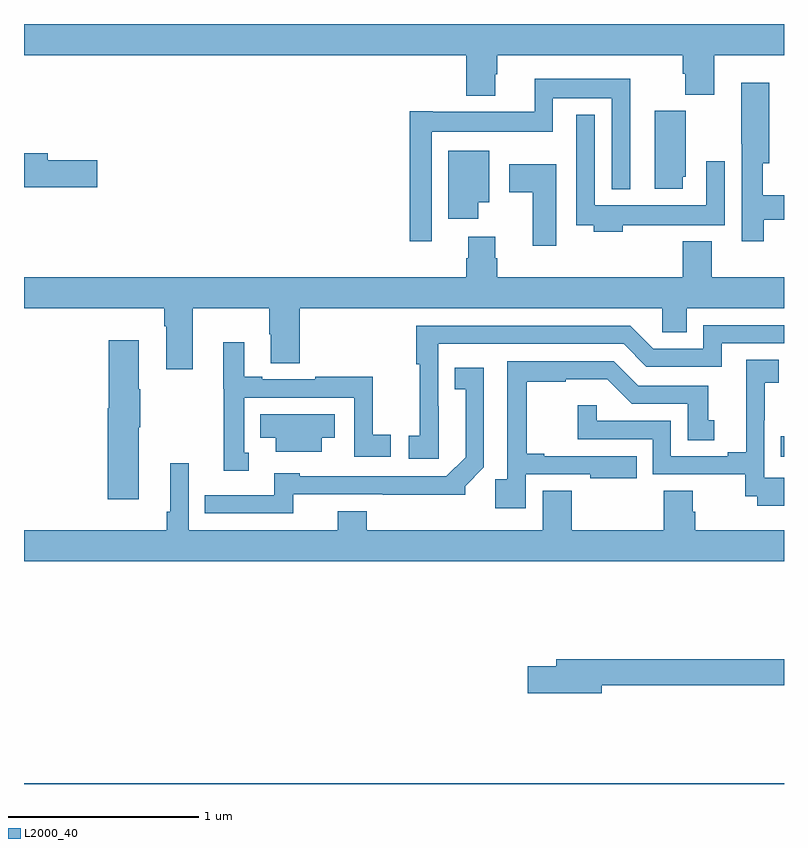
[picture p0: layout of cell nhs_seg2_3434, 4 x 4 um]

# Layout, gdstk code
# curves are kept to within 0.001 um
import gdstk
lib = gdstk.Library(unit=1e-6, precision=1e-09)
def R(c, l, rs):  # rectangles x0, y0, x1, y1
    for r in rs: c.add(gdstk.rectangle(r[:2], r[2:], *l))
def P(c, l, *ps):  # polygons
    for p in ps: c.add(gdstk.Polygon(p, *l))
L2000_40 = (2000, 40)

nhs_seg2_3434 = lib.new_cell('nhs_seg2_3434')
R(nhs_seg2_3434, L2000_40, [(291,643.8,295,643.804), (294.982,645.522,295,645.631)])
P(nhs_seg2_3434, L2000_40, [(293.479,647.535),(293.492,647.535),(293.492,647.636),(294.467,647.636),(294.467,647.537),(294.479,647.537),(294.479,647.428),(294.632,647.428),(294.632,647.636),(295,647.636),(295,647.8),(291,647.8),(291,647.636),(293.327,647.636),(293.327,647.423),(293.479,647.423)],
  [(293.145,647.234),(293.784,647.234),(293.784,647.408),(294.093,647.408),(294.093,646.931),(294.19,646.931),(294.19,647.512),(293.687,647.512),(293.687,647.338),(293.152,647.338),(293.152,647.341),(293.029,647.341),(293.029,646.656),(293.145,646.656)],
  [(294.893,646.77),(295,646.77),(295,646.898),(294.889,646.898),(294.889,647.066),(294.923,647.066),(294.923,647.491),(294.776,647.491),(294.776,647.17),(294.777,647.17),(294.777,646.656),(294.893,646.656)],
  [(294.466,646.995),(294.484,646.995),(294.484,647.343),(294.32,647.343),(294.32,646.932),(294.466,646.932)],
  [(294.152,646.74),(294.383,646.74),(294.383,646.742),(294.687,646.742),(294.687,647.077),(294.591,647.077),(294.591,646.846),(294.003,646.846),(294.003,647.323),(293.907,647.323),(293.907,646.74),(293.999,646.74),(293.999,646.706),(294.152,646.706)],
  [(293.392,646.862),(293.449,646.862),(293.449,647.134),(293.234,647.134),(293.234,646.776),(293.392,646.776)],
  [(291.385,647.084),(291.124,647.084),(291.124,647.12),(291,647.12),(291,646.942),(291.385,646.942)],
  [(293.8,647.062),(293.553,647.062),(293.553,646.915),(293.678,646.915),(293.678,646.632),(293.8,646.632)],
  [(293.492,646.566),(293.479,646.566),(293.479,646.681),(293.339,646.681),(293.339,646.566),(293.327,646.566),(293.327,646.468),(291,646.468),(291,646.304),(291.737,646.304),(291.737,646.208),(291.749,646.208),(291.749,645.984),(291.889,645.984),(291.889,646.304),(292.291,646.304),(292.291,646.166),(292.298,646.166),(292.298,646.015),(292.451,646.015),(292.451,646.304),(294.36,646.304),(294.36,646.177),(294.487,646.177),(294.487,646.304),(295,646.304),(295,646.468),(294.619,646.468),(294.619,646.657),(294.467,646.657),(294.467,646.468),(293.492,646.468)],
  [(293.182,645.788),(293.181,646.116),(294.156,646.116),(294.276,645.996),(294.672,645.996),(294.672,646.119),(295,646.119),(295,646.215),(294.576,646.215),(294.576,646.092),(294.312,646.092),(294.192,646.212),(293.065,646.212),(293.065,646.009),(293.083,646.009),(293.083,645.633),(293.025,645.633),(293.025,645.513),(293.182,645.513)],
  [(291.604,645.677),(291.612,645.677),(291.612,645.877),(291.604,645.877),(291.604,646.135),(291.446,646.135),(291.446,645.777),(291.44,645.777),(291.44,645.3),(291.604,645.3)],
  [(292.183,645.543),(292.158,645.543),(292.158,645.834),(292.737,645.834),(292.737,645.522),(292.93,645.522),(292.93,645.638),(292.836,645.638),(292.836,645.943),(292.534,645.943),(292.534,645.93),(292.255,645.93),(292.255,645.943),(292.159,645.943),(292.159,646.126),(292.049,646.126),(292.049,645.881),(292.05,645.881),(292.05,645.449),(292.183,645.449)],
  [(295,645.411),(294.897,645.411),(294.897,645.715),(294.899,645.715),(294.899,645.913),(294.973,645.913),(294.973,646.034),(294.802,646.034),(294.802,645.923),(294.8,645.923),(294.8,645.545),(294.704,645.545),(294.704,645.525),(294.405,645.525),(294.405,645.711),(294.015,645.711),(294.015,645.793),(293.914,645.793),(293.914,645.615),(294.309,645.615),(294.309,645.429),(294.796,645.429),(294.796,645.315),(294.859,645.315),(294.859,645.264),(295,645.264)],
  [(293.64,645.429),(293.981,645.429),(293.981,645.41),(294.224,645.41),(294.224,645.525),(293.737,645.525),(293.737,645.538),(293.645,645.538),(293.645,645.918),(293.852,645.918),(293.852,645.929),(294.07,645.929),(294.198,645.801),(294.494,645.801),(294.494,645.61),(294.634,645.61),(294.634,645.714),(294.601,645.714),(294.601,645.897),(294.234,645.897),(294.105,646.026),(293.544,646.026),(293.544,645.403),(293.479,645.403),(293.479,645.252),(293.64,645.252)],
  [(292.416,645.324),(293.322,645.323),(293.322,645.367),(293.421,645.466),(293.421,645.991),(293.266,645.991),(293.266,645.878),(293.324,645.878),(293.324,645.521),(293.223,645.42),(292.452,645.42),(292.452,645.436),(292.316,645.436),(292.316,645.321),(291.952,645.321),(291.952,645.225),(292.416,645.225)],
  [(292.567,645.623),(292.636,645.623),(292.636,645.745),(292.243,645.745),(292.243,645.623),(292.325,645.623),(292.325,645.548),(292.567,645.548)],
  [(294.52,645.234),(294.52,645.344),(294.368,645.344),(294.368,645.136),(293.882,645.136),(293.882,645.344),(293.729,645.344),(293.729,645.136),(292.805,645.136),(292.805,645.235),(292.652,645.235),(292.652,645.136),(291.867,645.136),(291.867,645.487),(291.77,645.487),(291.77,645.232),(291.751,645.232),(291.751,645.136),(291,645.136),(291,644.972),(295,644.972),(295,645.136),(294.533,645.136),(294.533,645.234)],
  [(294.04,644.32),(295,644.32),(295,644.456),(293.801,644.456),(293.801,644.42),(293.652,644.42),(293.652,644.278),(294.04,644.278)])

lib.write_gds('nhs_seg2_3434.gds')
